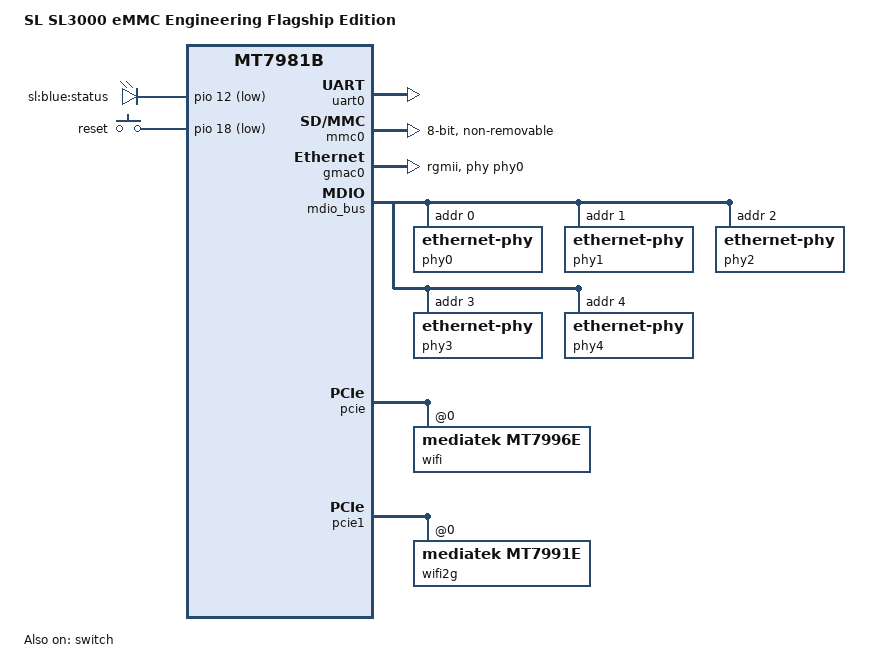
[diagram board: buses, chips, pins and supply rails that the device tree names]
// SPDX-License-Identifier: GPL-2.0-only OR MIT
/dts-v1/;

#include "mt7981.dtsi"
#include <dt-bindings/gpio/gpio.h>
#include <dt-bindings/input/input.h>
#include <dt-bindings/leds/common.h>

/ {
	model = "SL SL3000 eMMC Engineering Flagship Edition";
	compatible = "sl,sl3000-emmc", "mediatek,mt7981b";

	aliases {
		serial0 = &uart0;
		led-boot = &led_status;
		led-failsafe = &led_status;
		led-running = &led_status;
		led-upgrade = &led_status;
		label-mac-device = &gmac0;
	};

	chosen {
		stdout-path = "serial0:115200n8";
	};

	leds {
		compatible = "gpio-leds";

		led_status: led-status {
			label = "sl:blue:status";
			gpios = <&pio 12 GPIO_ACTIVE_LOW>;
			linux,default-trigger = "heartbeat";
			default-state = "on";
		};
	};

	keys {
		compatible = "gpio-keys";

		reset {
			label = "reset";
			gpios = <&pio 18 GPIO_ACTIVE_LOW>;
			linux,code = <KEY_RESTART>;
			debounce-interval = <60>;
		};
	};
};

&uart0 {
	status = "okay";
};

&mmc0 {
	status = "okay";
	bus-width = <8>;
	mmc-hs200-1_8v;
	non-removable;
	cap-mmc-hw-reset;
	mediatek,mmc-wp-disable;
};

&gmac0 {
	status = "okay";
	phy-mode = "rgmii";
	phy-handle = <&phy0>;
	nvmem-cells = <&macaddr_factory_4>;
	nvmem-cell-names = "mac-address";
};

&mdio_bus {
	status = "okay";

	phy0: ethernet-phy@0 { reg = <0>; };
	phy1: ethernet-phy@1 { reg = <1>; };
	phy2: ethernet-phy@2 { reg = <2>; };
	phy3: ethernet-phy@3 { reg = <3>; };
	phy4: ethernet-phy@4 { reg = <4>; };
};

&switch {
	status = "okay";

	ports {
		#address-cells = <1>;
		#size-cells = <0>;

		port@0 {
			reg = <0>;
			label = "wan";
			phy-handle = <&phy0>;
		};

		port@1 {
			reg = <1>;
			label = "lan1";
			phy-handle = <&phy1>;
		};

		port@2 {
			reg = <2>;
			label = "lan2";
			phy-handle = <&phy2>;
		};

		port@3 {
			reg = <3>;
			label = "lan3";
			phy-handle = <&phy3>;
		};
	};
};

/* -------------------------------
 *  PCIe + WiFi (MT7996 + MT7991)
 *  官方工程旗舰版结构（master）
 * ------------------------------- */
&pcie {
	status = "okay";

	wifi@0,0 {
		compatible = "mediatek,mt7996e";
		reg = <0x0000 0 0 0 0>;
		mediatek,mtd-eeprom = <&factory 0x0>;
		interrupt-parent = <&pcie_intc>;
		interrupts = <0 IRQ_TYPE_LEVEL_HIGH>;
	};
};

&pcie1 {
	status = "okay";

	wifi2g@0,0 {
		compatible = "mediatek,mt7991e";
		reg = <0x0000 0 0 0 0>;
		mediatek,mtd-eeprom = <&factory 0x8000>;
		interrupt-parent = <&pcie_intc>;
		interrupts = <1 IRQ_TYPE_LEVEL_HIGH>;
	};
};

&factory {
	macaddr_factory_4: macaddr@4 {
		reg = <0x4 0x6>;
	};
};
